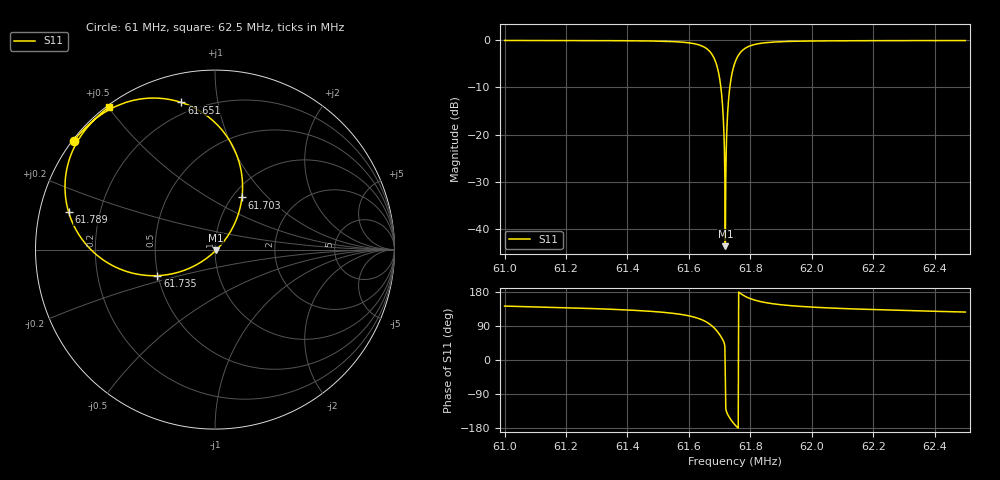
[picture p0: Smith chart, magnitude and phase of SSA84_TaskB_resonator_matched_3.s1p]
#  HZ  S  DB  R  50.00
! Rohde & Schwarz ZVB8 2Ports - Version 3.70 - 1145.1010k08 SN: 100925
! Date: 2021-12-10 17:30:48
! Measurement: S11
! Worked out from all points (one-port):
!   1001 points, 61 MHz to 62.5 MHz, reference 50 ohm
!   lowest |S11| = -43.6 dB at 61.718 MHz (marker M1), VSWR 1.01, Z = 50.5 - j0.474 ohm
!   |S11| at or under -10 dB: 61.70403 MHz to 61.73313 MHz (29.1 kHz wide, 0.0471 % of centre)
!   S11 on the Smith chart (normalised r, x): 61 MHz: 0.00, +0.34; 61.651 MHz: 0.14, +0.79; 61.703 MHz: 1.11, +0.72; 61.735 MHz: 0.50, -0.16; 61.789 MHz: 0.09, +0.13; 62.5 MHz: 0.01, +0.50
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6.1e7  -0.06 142.3
6.11875e7  -0.07 138.3
6.1375e7  -0.11 132.9
6.14875e7  -0.19 127.8
6.15625e7  -0.35 121.7
6.16135e7  -0.70 113.9
6.1651e7  -1.50 102.9
6.1669e7  -2.47 93.9
6.1684e7  -4.11 83.2
6.16945e7  -6.29 73.2
6.17035e7  -9.71 62.7
6.1708e7  -12.57 56.6
6.17125e7  -17.27 49.6
6.17155e7  -23.20 42.9
6.17185e7  -43.62 -45.5
6.17215e7  -23.23 -134.2
6.17245e7  -17.31 -140.9
6.1729e7  -12.64 -147.8
6.1735e7  -9.07 -155.7
6.1741e7  -6.83 -162.5
6.175e7  -4.73 -171.3
6.17665e7  -2.70 176.4
6.1789e7  -1.49 165.6
6.1846e7  -0.56 152.0
6.19375e7  -0.24 143.0
6.2125e7  -0.12 135.1
6.23125e7  -0.09 130.3
6.25e7  -0.08 126.5
